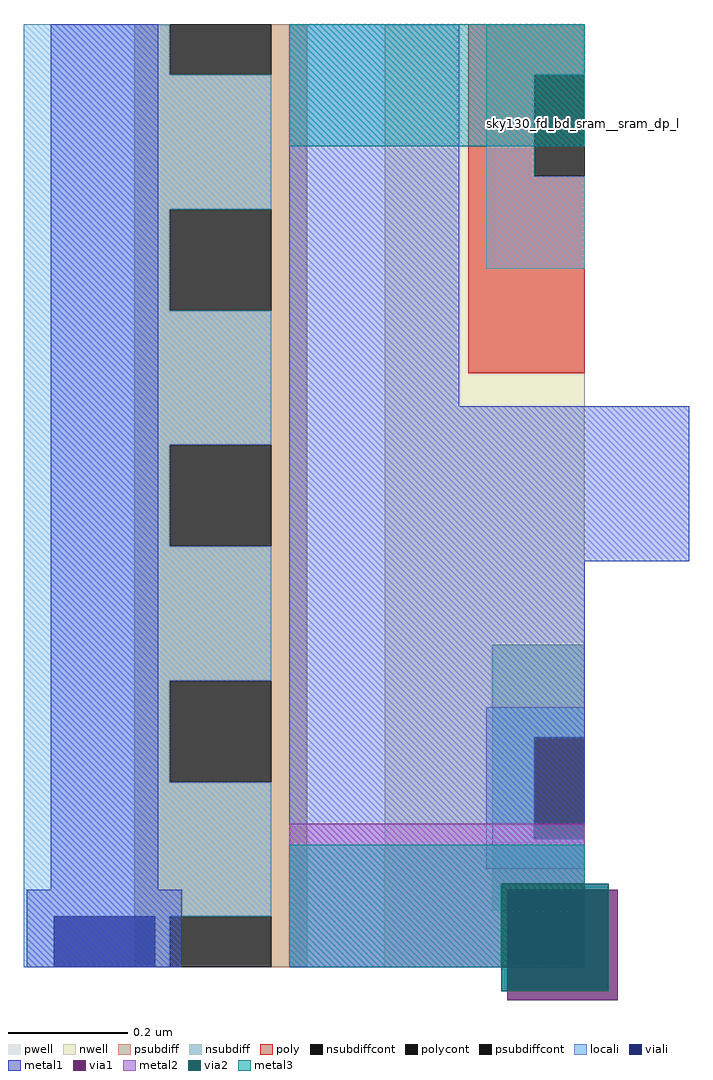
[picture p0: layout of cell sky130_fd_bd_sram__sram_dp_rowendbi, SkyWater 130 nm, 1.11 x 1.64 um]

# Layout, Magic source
magic
tech sky130A
magscale 1 2
<< nwell >>
rect 121 0 188 316
<< pwell >>
rect 37 0 95 316
<< psubdiff >>
rect 37 299 49 316
rect 83 299 95 316
rect 37 254 95 299
rect 37 220 49 254
rect 83 220 95 254
rect 37 175 95 220
rect 37 141 49 175
rect 83 141 95 175
rect 37 96 95 141
rect 37 62 49 96
rect 83 62 95 96
rect 37 17 95 62
rect 37 0 49 17
rect 83 0 95 17
<< nsubdiff >>
rect 157 77 188 108
rect 157 43 171 77
rect 157 19 188 43
<< psubdiffcont >>
rect 49 299 83 316
rect 49 220 83 254
rect 49 141 83 175
rect 49 62 83 96
rect 49 0 83 17
<< nsubdiffcont >>
rect 171 43 188 77
<< poly >>
rect 149 299 188 316
rect 149 265 171 299
rect 149 199 188 265
<< polycont >>
rect 171 265 188 299
<< locali >>
rect 0 299 49 316
rect 0 254 83 299
rect 0 220 49 254
rect 155 299 188 316
rect 155 265 171 299
rect 155 234 188 265
rect 0 175 83 220
rect 0 141 49 175
rect 0 96 83 141
rect 0 62 49 96
rect 0 17 83 62
rect 155 77 188 87
rect 155 43 171 77
rect 155 33 188 43
rect 0 0 49 17
<< metal1 >>
rect 89 0 110 316
<< via1 >>
rect 162 -11 199 26
<< metal2 >>
rect 89 28 188 48
rect 89 0 160 28
<< via2 >>
rect 160 26 196 28
rect 160 -8 162 26
rect 162 -8 196 26
<< metal3 >>
rect 89 275 188 316
rect 89 28 188 41
rect 89 0 160 28
use sky130_fd_bd_sram__sram_dp_licon_05  sky130_fd_bd_sram__sram_dp_licon_05_0
transform 0 -1 188 1 0 282
box 0 0 1 1
use sky130_fd_bd_sram__sram_dp_rowend_strp  sky130_fd_bd_sram__sram_dp_rowend_strp_0
transform 1 0 11 0 1 0
box -10 0 42 316
use sky130_fd_bd_sram__sram_dp_swldrv_strap1  sky130_fd_bd_sram__sram_dp_swldrv_strap1_0
transform -1 0 188 0 -1 316
box -35 0 78 316
<< properties >>
string GDS_FILE sky130_fd_bd_sram__sram_dp_rowendbi.gds
string GDS_END 2728
string GDS_START 1094
<< end >>

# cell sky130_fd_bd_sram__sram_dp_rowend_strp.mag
magic
tech sky130A
<< metal1 >>
rect -1 79 17 158
use sky130_fd_bd_sram__sram_dp_rowend_strp_cont  sky130_fd_bd_sram__sram_dp_rowend_strp_cont_0
transform 1 0 0 0 1 0
box -5 0 21 79
<< properties >>
string GDS_FILE sky130_fd_bd_sram__sram_dp_rowend_strp.gds
string GDS_END 720
string GDS_START 584
<< end >>

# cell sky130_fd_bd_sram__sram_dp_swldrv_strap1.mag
magic
tech sky130A
magscale 1 2
<< metal1 >>
rect 0 180 78 316
rect -35 128 78 180
rect 42 0 78 128
<< properties >>
string GDS_FILE sky130_fd_bd_sram__sram_dp_swldrv_strap1.gds
string GDS_END 270
string GDS_START 170
<< end >>

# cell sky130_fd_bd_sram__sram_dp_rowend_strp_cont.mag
magic
tech sky130A
magscale 1 2
<< metal1 >>
rect -2 26 34 158
rect -10 0 42 26
use sky130_fd_bd_sram__sram_dp_mcon_05  sky130_fd_bd_sram__sram_dp_mcon_05_0
transform -1 0 16 0 1 0
box -17 0 17 17
<< properties >>
string GDS_FILE sky130_fd_bd_sram__sram_dp_rowend_strp_cont.gds
string GDS_END 520
string GDS_START 312
<< end >>

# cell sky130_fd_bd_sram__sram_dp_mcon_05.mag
magic
tech sky130A
magscale 1 2
<< viali >>
rect -17 0 17 17
<< properties >>
string GDS_FILE sky130_fd_bd_sram__sram_dp_mcon_05.gds
string GDS_END 226
string GDS_START 158
<< end >>
